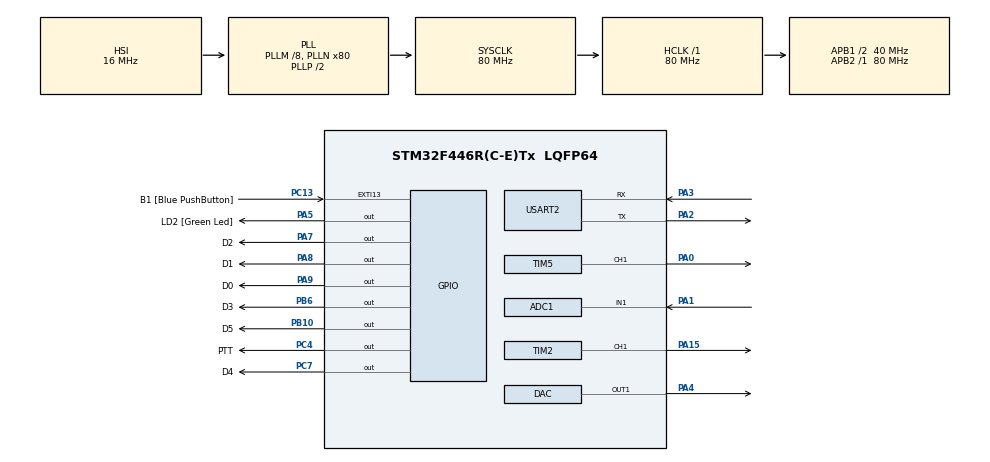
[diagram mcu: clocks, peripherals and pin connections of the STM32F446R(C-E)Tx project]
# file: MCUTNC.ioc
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ADC1.Channel-1\#ChannelRegularConversion=ADC_CHANNEL_1
ADC1.NbrOfConversionFlag=1
ADC1.Rank-1\#ChannelRegularConversion=1
ADC1.SamplingTime-1\#ChannelRegularConversion=ADC_SAMPLETIME_3CYCLES
ADC1.master=1
DAC.DAC_Trigger=DAC_TRIGGER_T4_TRGO
Dma.DAC1.0.Direction=DMA_MEMORY_TO_PERIPH
Dma.DAC1.0.FIFOMode=DMA_FIFOMODE_DISABLE
Dma.DAC1.0.Instance=DMA1_Stream5
Dma.DAC1.0.MemDataAlignment=DMA_MDATAALIGN_WORD
Dma.DAC1.0.MemInc=DMA_MINC_ENABLE
Dma.DAC1.0.Mode=DMA_CIRCULAR
Dma.DAC1.0.PeriphDataAlignment=DMA_PDATAALIGN_WORD
Dma.DAC1.0.PeriphInc=DMA_PINC_DISABLE
Dma.DAC1.0.Priority=DMA_PRIORITY_LOW
Dma.Request0=DAC1
Dma.Request1=TIM4_UP
Dma.TIM4_UP.1.Direction=DMA_PERIPH_TO_MEMORY
Dma.TIM4_UP.1.FIFOMode=DMA_FIFOMODE_DISABLE
Dma.TIM4_UP.1.Instance=DMA1_Stream6
Dma.TIM4_UP.1.MemDataAlignment=DMA_MDATAALIGN_WORD
Dma.TIM4_UP.1.MemInc=DMA_MINC_ENABLE
Dma.TIM4_UP.1.Mode=DMA_CIRCULAR
Dma.TIM4_UP.1.PeriphDataAlignment=DMA_PDATAALIGN_WORD
Dma.TIM4_UP.1.PeriphInc=DMA_PINC_DISABLE
Dma.TIM4_UP.1.Priority=DMA_PRIORITY_LOW
Mcu.Family=STM32F4
Mcu.Name=STM32F446R(C-E)Tx
Mcu.Package=LQFP64
NVIC.DMA1_Stream5_IRQn=true\:0\:0\:false\:false\:true\:false\:true
NVIC.DMA1_Stream6_IRQn=true\:0\:0\:false\:false\:true\:false\:true
NVIC.EXTI15_10_IRQn=true\:0\:0\:false\:false\:true\:true\:true
NVIC.PriorityGroup=NVIC_PRIORITYGROUP_0
NVIC.TIM2_IRQn=true\:0\:0\:false\:false\:true\:true\:true
NVIC.TIM3_IRQn=true\:0\:0\:false\:false\:true\:true\:true
NVIC.TIM5_IRQn=true\:0\:0\:false\:false\:true\:true\:true
NVIC.USART2_IRQn=true\:0\:0\:false\:false\:true\:true\:true
PA0-WKUP.Signal=S_TIM5_CH1
PA1.Signal=ADCx_IN1
PA13.GPIO_Label=TMS
PA13.Signal=SYS_JTMS-SWDIO
PA14.GPIO_Label=TCK
PA14.Signal=SYS_JTCK-SWCLK
PA15.Signal=S_TIM2_CH1_ETR
PA2.Mode=Asynchronous
PA2.Signal=USART2_TX
PA3.Mode=Asynchronous
PA3.Signal=USART2_RX
PA4.Signal=COMP_DAC1_group
PA5.GPIO_Label=LD2 [Green Led]
PA5.Signal=GPIO_Output
PA7.GPIO_Label=D2
PA7.Signal=GPIO_Output
PA8.GPIO_Label=D1
PA8.Signal=GPIO_Output
PA9.GPIO_Label=D0
PA9.Signal=GPIO_Output
PB10.GPIO_Label=D5
PB10.Signal=GPIO_Output
PB6.GPIO_Label=D3
PB6.Signal=GPIO_Output
PC13.GPIO_Label=B1 [Blue PushButton]
PC13.GPIO_ModeDefaultEXTI=GPIO_MODE_IT_FALLING
PC13.Signal=GPXTI13
PC14-OSC32_IN.Signal=RCC_OSC32_IN
PC15-OSC32_OUT.Signal=RCC_OSC32_OUT
PC4.GPIO_Label=PTT
PC4.Signal=GPIO_Output
PC7.GPIO_Label=D4
PC7.Signal=GPIO_Output
PH0-OSC_IN.Mode=HSE-External-Oscillator
PH0-OSC_IN.Signal=RCC_OSC_IN
PH1-OSC_OUT.Mode=HSE-External-Oscillator
PH1-OSC_OUT.Signal=RCC_OSC_OUT
ProjectManager.HeapSize=0x200
ProjectManager.StackSize=0x400
ProjectManager.TargetToolchain=STM32CubeIDE
RCC.AHBFreq_Value=80000000
RCC.APB1CLKDivider=RCC_HCLK_DIV2
RCC.APB1Freq_Value=40000000
RCC.APB1TimFreq_Value=80000000
RCC.APB2Freq_Value=80000000
RCC.APB2TimFreq_Value=80000000
RCC.CortexFreq_Value=80000000
RCC.FLatency-AdvancedSettings=FLASH_LATENCY_2
RCC.HCLKFreq_Value=80000000
RCC.HSE_VALUE=8000000
RCC.HSI_VALUE=16000000
RCC.LSE_VALUE=32768
RCC.PLLM=8
RCC.PLLN=80
RCC.SYSCLKFreq_VALUE=80000000
RCC.SYSCLKSource=RCC_SYSCLKSOURCE_PLLCLK
RCC.USBFreq_Value=80000000
RCC.VCOOutputFreq_Value=160000000
SH.ADCx_IN1.0=ADC1_IN1,IN1
SH.COMP_DAC1_group.0=DAC_OUT1,DAC_OUT1
SH.S_TIM2_CH1_ETR.0=TIM2_CH1,Output Compare1 CH1
SH.S_TIM5_CH1.0=TIM5_CH1,Output Compare1 CH1
TIM2.AutoReloadPreload=TIM_AUTORELOAD_PRELOAD_ENABLE
TIM2.Channel-Output\ Compare1\ CH1=TIM_CHANNEL_1
TIM2.Prescaler=2-1
TIM3.AutoReloadPreload=TIM_AUTORELOAD_PRELOAD_ENABLE
TIM3.Period=828
TIM3.Prescaler=80-1
TIM4.AutoReloadPreload=TIM_AUTORELOAD_PRELOAD_ENABLE
TIM4.Period=400
TIM4.Prescaler=2-1
TIM4.TIM_MasterOutputTrigger=TIM_TRGO_UPDATE
TIM5.AutoReloadPreload=TIM_AUTORELOAD_PRELOAD_ENABLE
TIM5.Channel-Output\ Compare1\ CH1=TIM_CHANNEL_1
TIM5.Prescaler=2-1
USART2.VirtualMode=VM_ASYNC
VP_TIM2_VS_ClockSourceINT.Mode=Internal
VP_TIM3_VS_ClockSourceINT.Mode=Internal
VP_TIM4_VS_ClockSourceINT.Mode=Internal
VP_TIM5_VS_ClockSourceINT.Mode=Internal
board=NUCLEO-F446RE

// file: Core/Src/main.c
/* USER CODE BEGIN Header */
/**
 ******************************************************************************
 * @file           : main.c
 * @brief          : Main program body
 ******************************************************************************
 * @attention
 *
 * <h2><center>&copy; Copyright (c) 2020 STMicroelectronics.
 * All rights reserved.</center></h2>
 *
 * This software component is licensed by ST under BSD 3-Clause license,
 * the "License"; You may not use this file except in compliance with the
 * License. You may obtain a copy of the License at:
 *                        opensource.org/licenses/BSD-3-Clause
 *
 ******************************************************************************
 */
/* USER CODE END Header */
#include "main.h"

/* USER CODE BEGIN Includes */
#include "AX.25.h"
#include "debug.h"
/* USER CODE END Includes */

ADC_HandleTypeDef hadc1;

DAC_HandleTypeDef hdac;
DMA_HandleTypeDef hdma_dac1;

TIM_HandleTypeDef htim2;
TIM_HandleTypeDef htim3;
TIM_HandleTypeDef htim4;
TIM_HandleTypeDef htim5;
DMA_HandleTypeDef hdma_tim4_up;

UART_HandleTypeDef huart2;

void SystemClock_Config(void);
static void MX_GPIO_Init(void);
static void MX_DMA_Init(void);
static void MX_DAC_Init(void);
static void MX_USART2_UART_Init(void);
static void MX_TIM5_Init(void);
static void MX_TIM2_Init(void);
static void MX_TIM3_Init(void);
static void MX_TIM4_Init(void);
static void MX_ADC1_Init(void);

int main(void)
{
  /* USER CODE BEGIN 1 */
	//gets a raw memory block,suitable for a Data Type, and sets as memory address
  /* USER CODE END 1 */

  /* MCU Configuration--------------------------------------------------------*/

  /* Reset of all peripherals, Initializes the Flash interface and the Systick. */
  HAL_Init();

  /* Configure the system clock */
  SystemClock_Config();

  /* Initialize all configured peripherals */
  MX_GPIO_Init();
  MX_DMA_Init();
  MX_DAC_Init();
  MX_USART2_UART_Init();
  MX_TIM5_Init();
  MX_TIM2_Init();
  MX_TIM3_Init();
  MX_TIM4_Init();
  MX_ADC1_Init();
  /* USER CODE BEGIN 2 */

	uart_gpio_init();
	initProgram(false);

  /* USER CODE END 2 */

  /* Infinite loop */
	while (1) {

    /* USER CODE BEGIN 3 */

		/*
		 * This function simply serves the transmit functions as we couldn't get
		 * that path to work properly in purely interrupt.
		 */
		tx_rx();
	}
  /* USER CODE END 3 */
}

void SystemClock_Config(void)
{
  RCC_OscInitTypeDef RCC_OscInitStruct = {0};
  RCC_ClkInitTypeDef RCC_ClkInitStruct = {0};

  /** Configure the main internal regulator output voltage
  */
  __HAL_RCC_PWR_CLK_ENABLE();
  __HAL_PWR_VOLTAGESCALING_CONFIG(PWR_REGULATOR_VOLTAGE_SCALE3);
  /** Initializes the RCC Oscillators according to the specified parameters
  * in the RCC_OscInitTypeDef structure.
  */
  RCC_OscInitStruct.OscillatorType = RCC_OSCILLATORTYPE_HSI;
  RCC_OscInitStruct.HSIState = RCC_HSI_ON;
  RCC_OscInitStruct.HSICalibrationValue = RCC_HSICALIBRATION_DEFAULT;
  RCC_OscInitStruct.PLL.PLLState = RCC_PLL_ON;
  RCC_OscInitStruct.PLL.PLLSource = RCC_PLLSOURCE_HSI;
  RCC_OscInitStruct.PLL.PLLM = 8;
  RCC_OscInitStruct.PLL.PLLN = 80;
  RCC_OscInitStruct.PLL.PLLP = RCC_PLLP_DIV2;
  RCC_OscInitStruct.PLL.PLLQ = 2;
  RCC_OscInitStruct.PLL.PLLR = 2;
  if (HAL_RCC_OscConfig(&RCC_OscInitStruct) != HAL_OK)
  {
    Error_Handler();
  }
  /** Initializes the CPU, AHB and APB buses clocks
  */
  RCC_ClkInitStruct.ClockType = RCC_CLOCKTYPE_HCLK|RCC_CLOCKTYPE_SYSCLK
                              |RCC_CLOCKTYPE_PCLK1|RCC_CLOCKTYPE_PCLK2;
  RCC_ClkInitStruct.SYSCLKSource = RCC_SYSCLKSOURCE_PLLCLK;
  RCC_ClkInitStruct.AHBCLKDivider = RCC_SYSCLK_DIV1;
  RCC_ClkInitStruct.APB1CLKDivider = RCC_HCLK_DIV2;
  RCC_ClkInitStruct.APB2CLKDivider = RCC_HCLK_DIV1;

  if (HAL_RCC_ClockConfig(&RCC_ClkInitStruct, FLASH_LATENCY_2) != HAL_OK)
  {
    Error_Handler();
  }
}

static void MX_ADC1_Init(void)
{

  ADC_ChannelConfTypeDef sConfig = {0};

  /** Configure the global features of the ADC (Clock, Resolution, Data Alignment and number of conversion)
  */
  hadc1.Instance = ADC1;
  hadc1.Init.ClockPrescaler = ADC_CLOCK_SYNC_PCLK_DIV4;
  hadc1.Init.Resolution = ADC_RESOLUTION_12B;
  hadc1.Init.ScanConvMode = DISABLE;
  hadc1.Init.ContinuousConvMode = DISABLE;
  hadc1.Init.DiscontinuousConvMode = DISABLE;
  hadc1.Init.ExternalTrigConvEdge = ADC_EXTERNALTRIGCONVEDGE_NONE;
  hadc1.Init.ExternalTrigConv = ADC_SOFTWARE_START;
  hadc1.Init.DataAlign = ADC_DATAALIGN_RIGHT;
  hadc1.Init.NbrOfConversion = 1;
  hadc1.Init.DMAContinuousRequests = DISABLE;
  hadc1.Init.EOCSelection = ADC_EOC_SINGLE_CONV;
  if (HAL_ADC_Init(&hadc1) != HAL_OK)
  {
    Error_Handler();
  }
  /** Configure for the selected ADC regular channel its corresponding rank in the sequencer and its sample time.
  */
  sConfig.Channel = ADC_CHANNEL_1;
  sConfig.Rank = 1;
  sConfig.SamplingTime = ADC_SAMPLETIME_3CYCLES;
  if (HAL_ADC_ConfigChannel(&hadc1, &sConfig) != HAL_OK)
  {
    Error_Handler();
  }

}

static void MX_DAC_Init(void)
{

  DAC_ChannelConfTypeDef sConfig = {0};

  /** DAC Initialization
  */
  hdac.Instance = DAC;
  if (HAL_DAC_Init(&hdac) != HAL_OK)
  {
    Error_Handler();
  }
  /** DAC channel OUT1 config
  */
  sConfig.DAC_Trigger = DAC_TRIGGER_T4_TRGO;
  sConfig.DAC_OutputBuffer = DAC_OUTPUTBUFFER_ENABLE;
  if (HAL_DAC_ConfigChannel(&hdac, &sConfig, DAC_CHANNEL_1) != HAL_OK)
  {
    Error_Handler();
  }

}

static void MX_TIM2_Init(void)
{

  TIM_ClockConfigTypeDef sClockSourceConfig = {0};
  TIM_MasterConfigTypeDef sMasterConfig = {0};
  TIM_OC_InitTypeDef sConfigOC = {0};

  htim2.Instance = TIM2;
  htim2.Init.Prescaler = 2-1;
  htim2.Init.CounterMode = TIM_COUNTERMODE_UP;
  htim2.Init.Period = 4294967295;
  htim2.Init.ClockDivision = TIM_CLOCKDIVISION_DIV1;
  htim2.Init.AutoReloadPreload = TIM_AUTORELOAD_PRELOAD_ENABLE;
  if (HAL_TIM_Base_Init(&htim2) != HAL_OK)
  {
    Error_Handler();
  }
  sClockSourceConfig.ClockSource = TIM_CLOCKSOURCE_INTERNAL;
  if (HAL_TIM_ConfigClockSource(&htim2, &sClockSourceConfig) != HAL_OK)
  {
    Error_Handler();
  }
  if (HAL_TIM_OC_Init(&htim2) != HAL_OK)
  {
    Error_Handler();
  }
  sMasterConfig.MasterOutputTrigger = TIM_TRGO_RESET;
  sMasterConfig.MasterSlaveMode = TIM_MASTERSLAVEMODE_DISABLE;
  if (HAL_TIMEx_MasterConfigSynchronization(&htim2, &sMasterConfig) != HAL_OK)
  {
    Error_Handler();
  }
  sConfigOC.OCMode = TIM_OCMODE_TIMING;
  sConfigOC.Pulse = 0;
  sConfigOC.OCPolarity = TIM_OCPOLARITY_HIGH;
  sConfigOC.OCFastMode = TIM_OCFAST_DISABLE;
  if (HAL_TIM_OC_ConfigChannel(&htim2, &sConfigOC, TIM_CHANNEL_1) != HAL_OK)
  {
    Error_Handler();
  }
  HAL_TIM_MspPostInit(&htim2);

}

static void MX_TIM3_Init(void)
{

  TIM_ClockConfigTypeDef sClockSourceConfig = {0};
  TIM_MasterConfigTypeDef sMasterConfig = {0};

  htim3.Instance = TIM3;
  htim3.Init.Prescaler = 80-1;
  htim3.Init.CounterMode = TIM_COUNTERMODE_UP;
  htim3.Init.Period = 828;
  htim3.Init.ClockDivision = TIM_CLOCKDIVISION_DIV1;
  htim3.Init.AutoReloadPreload = TIM_AUTORELOAD_PRELOAD_ENABLE;
  if (HAL_TIM_Base_Init(&htim3) != HAL_OK)
  {
    Error_Handler();
  }
  sClockSourceConfig.ClockSource = TIM_CLOCKSOURCE_INTERNAL;
  if (HAL_TIM_ConfigClockSource(&htim3, &sClockSourceConfig) != HAL_OK)
  {
    Error_Handler();
  }
  sMasterConfig.MasterOutputTrigger = TIM_TRGO_RESET;
  sMasterConfig.MasterSlaveMode = TIM_MASTERSLAVEMODE_DISABLE;
  if (HAL_TIMEx_MasterConfigSynchronization(&htim3, &sMasterConfig) != HAL_OK)
  {
    Error_Handler();
  }

}

static void MX_TIM4_Init(void)
{

  TIM_ClockConfigTypeDef sClockSourceConfig = {0};
  TIM_MasterConfigTypeDef sMasterConfig = {0};

  htim4.Instance = TIM4;
  htim4.Init.Prescaler = 2-1;
  htim4.Init.CounterMode = TIM_COUNTERMODE_UP;
  htim4.Init.Period = 400;
  htim4.Init.ClockDivision = TIM_CLOCKDIVISION_DIV1;
  htim4.Init.AutoReloadPreload = TIM_AUTORELOAD_PRELOAD_ENABLE;
  if (HAL_TIM_Base_Init(&htim4) != HAL_OK)
  {
    Error_Handler();
  }
  sClockSourceConfig.ClockSource = TIM_CLOCKSOURCE_INTERNAL;
  if (HAL_TIM_ConfigClockSource(&htim4, &sClockSourceConfig) != HAL_OK)
  {
    Error_Handler();
  }
  sMasterConfig.MasterOutputTrigger = TIM_TRGO_UPDATE;
  sMasterConfig.MasterSlaveMode = TIM_MASTERSLAVEMODE_DISABLE;
  if (HAL_TIMEx_MasterConfigSynchronization(&htim4, &sMasterConfig) != HAL_OK)
  {
    Error_Handler();
  }

}

static void MX_TIM5_Init(void)
{

  TIM_ClockConfigTypeDef sClockSourceConfig = {0};
  TIM_MasterConfigTypeDef sMasterConfig = {0};
  TIM_OC_InitTypeDef sConfigOC = {0};

  htim5.Instance = TIM5;
  htim5.Init.Prescaler = 2-1;
  htim5.Init.CounterMode = TIM_COUNTERMODE_UP;
  htim5.Init.Period = 4294967295;
  htim5.Init.ClockDivision = TIM_CLOCKDIVISION_DIV1;
  htim5.Init.AutoReloadPreload = TIM_AUTORELOAD_PRELOAD_ENABLE;
  if (HAL_TIM_Base_Init(&htim5) != HAL_OK)
  {
    Error_Handler();
  }
  sClockSourceConfig.ClockSource = TIM_CLOCKSOURCE_INTERNAL;
  if (HAL_TIM_ConfigClockSource(&htim5, &sClockSourceConfig) != HAL_OK)
  {
    Error_Handler();
  }
  if (HAL_TIM_OC_Init(&htim5) != HAL_OK)
  {
    Error_Handler();
  }
  sMasterConfig.MasterOutputTrigger = TIM_TRGO_RESET;
  sMasterConfig.MasterSlaveMode = TIM_MASTERSLAVEMODE_DISABLE;
  if (HAL_TIMEx_MasterConfigSynchronization(&htim5, &sMasterConfig) != HAL_OK)
  {
    Error_Handler();
  }
  sConfigOC.OCMode = TIM_OCMODE_TIMING;
  sConfigOC.Pulse = 0;
  sConfigOC.OCPolarity = TIM_OCPOLARITY_HIGH;
  sConfigOC.OCFastMode = TIM_OCFAST_DISABLE;
  if (HAL_TIM_OC_ConfigChannel(&htim5, &sConfigOC, TIM_CHANNEL_1) != HAL_OK)
  {
    Error_Handler();
  }
  HAL_TIM_MspPostInit(&htim5);

}

static void MX_USART2_UART_Init(void)
{

  huart2.Instance = USART2;
  huart2.Init.BaudRate = 115200;
  huart2.Init.WordLength = UART_WORDLENGTH_8B;
  huart2.Init.StopBits = UART_STOPBITS_1;
  huart2.Init.Parity = UART_PARITY_NONE;
  huart2.Init.Mode = UART_MODE_TX_RX;
  huart2.Init.HwFlowCtl = UART_HWCONTROL_NONE;
  huart2.Init.OverSampling = UART_OVERSAMPLING_16;
  if (HAL_UART_Init(&huart2) != HAL_OK)
  {
    Error_Handler();
  }
  /* USER CODE BEGIN USART2_Init 2 */
  HAL_NVIC_SetPriority(USART2_IRQn, 0, 0);
  HAL_NVIC_EnableIRQ(USART2_IRQn);
  /* USER CODE END USART2_Init 2 */

}

static void MX_DMA_Init(void)
{

  /* DMA controller clock enable */
  __HAL_RCC_DMA1_CLK_ENABLE();

  /* DMA interrupt init */
  /* DMA1_Stream5_IRQn interrupt configuration */
  HAL_NVIC_SetPriority(DMA1_Stream5_IRQn, 0, 0);
  HAL_NVIC_EnableIRQ(DMA1_Stream5_IRQn);
  /* DMA1_Stream6_IRQn interrupt configuration */
  HAL_NVIC_SetPriority(DMA1_Stream6_IRQn, 0, 0);
  HAL_NVIC_EnableIRQ(DMA1_Stream6_IRQn);

}

static void MX_GPIO_Init(void)
{
  GPIO_InitTypeDef GPIO_InitStruct = {0};

  /* GPIO Ports Clock Enable */
  __HAL_RCC_GPIOC_CLK_ENABLE();
  __HAL_RCC_GPIOH_CLK_ENABLE();
  __HAL_RCC_GPIOA_CLK_ENABLE();
  __HAL_RCC_GPIOB_CLK_ENABLE();

  /*Configure GPIO pin Output Level */
  HAL_GPIO_WritePin(GPIOA, LD2_Pin|D2_Pin|D1_Pin|D0_Pin, GPIO_PIN_RESET);

  /*Configure GPIO pin Output Level */
  HAL_GPIO_WritePin(GPIOC, PTT_Pin|D4_Pin, GPIO_PIN_RESET);

  /*Configure GPIO pin Output Level */
  HAL_GPIO_WritePin(GPIOB, D5_Pin|D3_Pin, GPIO_PIN_RESET);

  /*Configure GPIO pin : B1_Pin */
  GPIO_InitStruct.Pin = B1_Pin;
  GPIO_InitStruct.Mode = GPIO_MODE_IT_FALLING;
  GPIO_InitStruct.Pull = GPIO_NOPULL;
  HAL_GPIO_Init(B1_GPIO_Port, &GPIO_InitStruct);

  /*Configure GPIO pins : LD2_Pin D2_Pin D1_Pin D0_Pin */
  GPIO_InitStruct.Pin = LD2_Pin|D2_Pin|D1_Pin|D0_Pin;
  GPIO_InitStruct.Mode = GPIO_MODE_OUTPUT_PP;
  GPIO_InitStruct.Pull = GPIO_NOPULL;
  GPIO_InitStruct.Speed = GPIO_SPEED_FREQ_LOW;
  HAL_GPIO_Init(GPIOA, &GPIO_InitStruct);

  /*Configure GPIO pins : PTT_Pin D4_Pin */
  GPIO_InitStruct.Pin = PTT_Pin|D4_Pin;
  GPIO_InitStruct.Mode = GPIO_MODE_OUTPUT_PP;
  GPIO_InitStruct.Pull = GPIO_NOPULL;
  GPIO_InitStruct.Speed = GPIO_SPEED_FREQ_LOW;
  HAL_GPIO_Init(GPIOC, &GPIO_InitStruct);

  /*Configure GPIO pins : D5_Pin D3_Pin */
  GPIO_InitStruct.Pin = D5_Pin|D3_Pin;
  GPIO_InitStruct.Mode = GPIO_MODE_OUTPUT_PP;
  GPIO_InitStruct.Pull = GPIO_NOPULL;
  GPIO_InitStruct.Speed = GPIO_SPEED_FREQ_LOW;
  HAL_GPIO_Init(GPIOB, &GPIO_InitStruct);

  /* EXTI interrupt init*/
  HAL_NVIC_SetPriority(EXTI15_10_IRQn, 0, 0);
  HAL_NVIC_EnableIRQ(EXTI15_10_IRQn);

}

/* USER CODE BEGIN 4 */

OC_count = 0;
void HAL_TIM_OC_DelayElapsedCallback(TIM_HandleTypeDef *htim)
{
	if (htim->Instance == TIM2 && htim->Channel == HAL_TIM_ACTIVE_CHANNEL_1)
	{
		OC_count++;
		Tim2_OC_Callback();
	}
	if (htim->Instance == TIM5 && htim->Channel == HAL_TIM_ACTIVE_CHANNEL_1)
	{
		Tim5_OC_Callback();
	}
	return;
}
void HAL_TIM_PeriodElapsedCallback(TIM_HandleTypeDef *htim) {
	if (htim == &htim3)
		Tim3_IT_Callback();
	else
		__NOP();

	return;
}

void HAL_UART_RxCpltCallback(UART_HandleTypeDef *huart)
{
  if (huart->Instance == USART2)
  {
	  UART2_Exception_Callback();
  }
}

void uart_gpio_init()
{
  GPIO_InitTypeDef GPIO_InitStruct;

  __GPIOA_CLK_ENABLE();

  /**USART2 GPIO Configuration
  PA2     ------> USART2_TX
  PA3     ------> USART2_RX
  */
  GPIO_InitStruct.Pin = GPIO_PIN_2 | GPIO_PIN_3;
  GPIO_InitStruct.Mode = GPIO_MODE_AF_PP;
  GPIO_InitStruct.Pull = GPIO_PULLUP;
  GPIO_InitStruct.Speed = GPIO_SPEED_LOW;
  GPIO_InitStruct.Alternate = GPIO_AF7_USART2;
  HAL_GPIO_Init(GPIOA, &GPIO_InitStruct);
}

/* USER CODE END 4 */

void Error_Handler(void)
{
}

/************************ (C) COPYRIGHT STMicroelectronics *****END OF FILE****/
